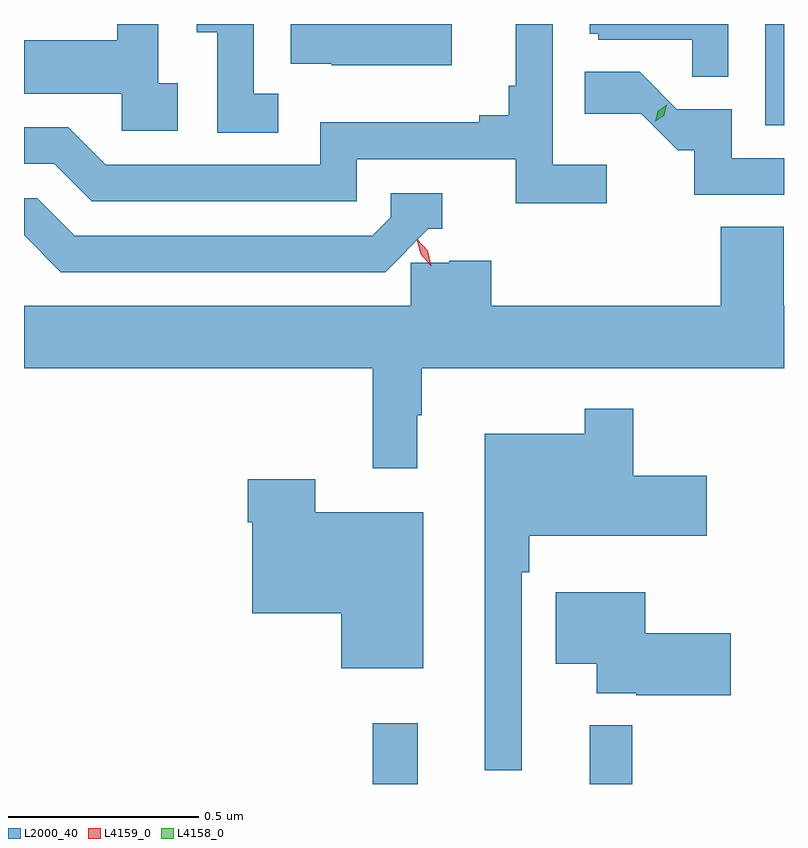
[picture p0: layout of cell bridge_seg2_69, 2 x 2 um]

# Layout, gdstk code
import gdstk
lib = gdstk.Library(unit=1e-6, precision=1e-09)
def R(c, l, rs):  # rectangles x0, y0, x1, y1
    for r in rs: c.add(gdstk.rectangle(r[:2], r[2:], *l))
def P(c, l, *ps):  # polygons
    for p in ps: c.add(gdstk.Polygon(p, *l))
L2000_40 = (2000, 40)
L4158_0 = (4158, 0)
L4159_0 = (4159, 0)

bridge_seg2_69 = lib.new_cell('bridge_seg2_69')
R(bridge_seg2_69, L2000_40, [(1037.455,654.534,1037.573,654.694), (1038.026,654.534,1038.138,654.688), (1038.488,656.268,1038.537,656.534)])
P(bridge_seg2_69, L2000_40, [(1038.07,656.164),(1037.928,656.164),(1037.928,656.534),(1037.831,656.534),(1037.831,656.371),(1037.812,656.371),(1037.812,656.294),(1037.735,656.294),(1037.735,656.275),(1037.316,656.275),(1037.316,656.163),(1036.752,656.163),(1036.653,656.262),(1036.537,656.262),(1036.537,656.166),(1036.616,656.166),(1036.715,656.067),(1037.412,656.067),(1037.412,656.178),(1037.831,656.178),(1037.831,656.062),(1038.07,656.062)],
  [(1036.942,656.378),(1036.89,656.378),(1036.89,656.534),(1036.782,656.534),(1036.782,656.491),(1036.537,656.491),(1036.537,656.351),(1036.794,656.351),(1036.794,656.253),(1036.942,656.253)],
  [(1037.206,656.351),(1037.142,656.351),(1037.142,656.534),(1036.991,656.534),(1036.991,656.512),(1037.046,656.512),(1037.046,656.248),(1037.206,656.248)],
  [(1038.39,656.534),(1038.026,656.534),(1038.026,656.508),(1038.048,656.508),(1038.048,656.493),(1038.295,656.493),(1038.295,656.395),(1038.39,656.395)],
  [(1037.662,656.534),(1037.239,656.534),(1037.239,656.429),(1037.347,656.429),(1037.347,656.426),(1037.662,656.426)],
  [(1038.537,656.181),(1038.399,656.181),(1038.399,656.31),(1038.255,656.31),(1038.157,656.408),(1038.013,656.408),(1038.013,656.298),(1038.161,656.298),(1038.257,656.202),(1038.301,656.202),(1038.301,656.085),(1038.537,656.085)],
  [(1037.601,655.995),(1037.638,655.995),(1037.638,656.088),(1037.502,656.088),(1037.502,656.025),(1037.454,655.977),(1036.671,655.977),(1036.572,656.076),(1036.537,656.076),(1036.537,655.978),(1036.634,655.881),(1037.487,655.881)],
  [(1037.572,655.505),(1037.584,655.505),(1037.584,655.628),(1038.537,655.628),(1038.537,655.792),(1038.536,655.792),(1038.536,656),(1038.371,656),(1038.371,655.792),(1037.767,655.792),(1037.767,655.911),(1037.656,655.911),(1037.656,655.906),(1037.555,655.906),(1037.555,655.792),(1036.537,655.792),(1036.537,655.628),(1037.455,655.628),(1037.455,655.365),(1037.572,655.365)],
  [(1037.847,655.091),(1037.867,655.091),(1037.867,655.187),(1038.334,655.187),(1038.334,655.345),(1038.14,655.345),(1038.14,655.522),(1038.012,655.522),(1038.012,655.456),(1037.75,655.456),(1037.75,654.57),(1037.847,654.57)],
  [(1037.587,655.249),(1037.304,655.249),(1037.304,655.336),(1037.126,655.336),(1037.126,655.223),(1037.138,655.223),(1037.138,654.983),(1037.372,654.983),(1037.372,654.839),(1037.587,654.839)],
  [(1038.397,654.931),(1038.172,654.931),(1038.172,655.039),(1037.936,655.039),(1037.936,654.851),(1038.044,654.851),(1038.044,654.773),(1038.148,654.773),(1038.148,654.768),(1038.397,654.768)])
P(bridge_seg2_69, L4158_0, [(1038.198,656.278),(1038.198,656.278),(1038.205,656.305),(1038.229,656.321),(1038.229,656.321),(1038.229,656.321),(1038.222,656.294),(1038.199,656.278)])
P(bridge_seg2_69, L4159_0, [(1037.608,655.898),(1037.608,655.898),(1037.581,655.928),(1037.571,655.967),(1037.571,655.967),(1037.572,655.967),(1037.599,655.937),(1037.609,655.898)])

lib.write_gds('bridge_seg2_69.gds')
